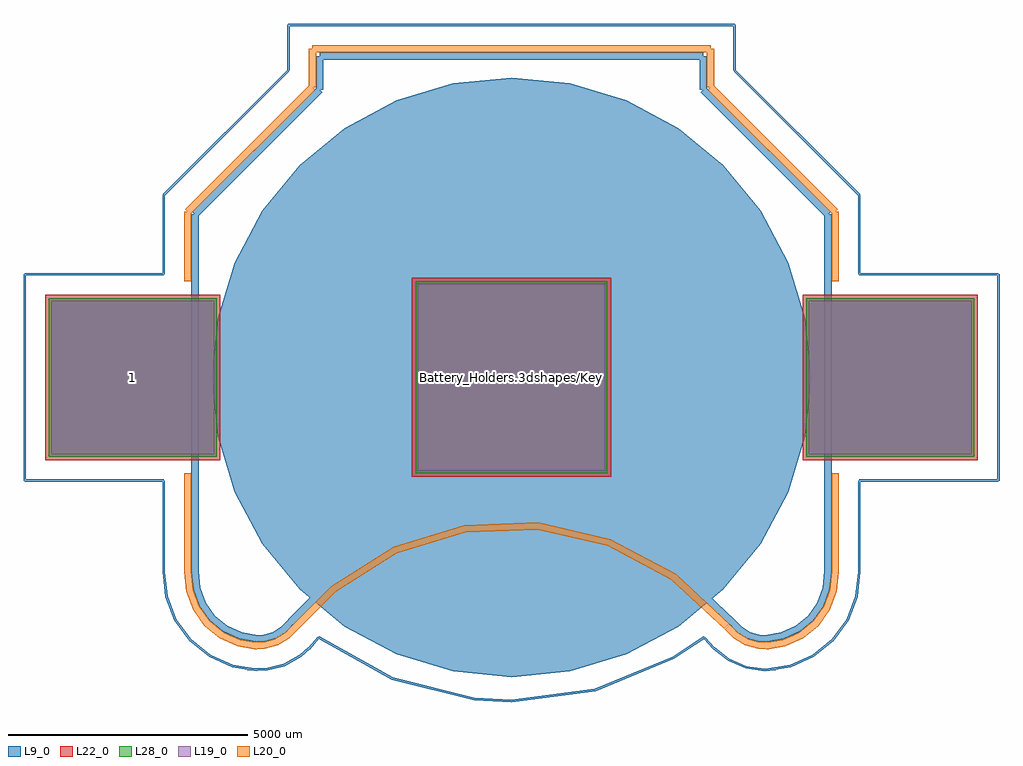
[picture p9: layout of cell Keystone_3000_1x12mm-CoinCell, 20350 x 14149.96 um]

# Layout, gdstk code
import gdstk
lib = gdstk.Library(unit=1e-6, precision=1e-09)
def R(c, l, rs):  # rectangles x0, y0, x1, y1
    for r in rs: c.add(gdstk.rectangle(r[:2], r[2:], *l))
def P(c, l, *ps):  # polygons
    for p in ps: c.add(gdstk.Polygon(p, *l))
L9_0 = (9, 0)
L19_0 = (19, 0)
L20_0 = (20, 0)
L22_0 = (22, 0)
L28_0 = (28, 0)

keystone_3000_1x12mm_coi = lib.new_cell('Keystone_3000_1x12mm-CoinCell')
P(keystone_3000_1x12mm_coi, L9_0, [(6250,0),(6129.908,1219.315),(5774.247,2391.771),(5196.685,3472.314),(4419.417,4419.417),(3472.314,5196.685),(2391.771,5774.247),(1219.315,6129.908),(0,6250),(-1219.315,6129.908),(-2391.771,5774.247),(-3472.314,5196.685),(-4419.417,4419.417),(-5196.685,3472.314),(-5774.247,2391.771),(-6129.908,1219.315),(-6250,0),(-6129.908,-1219.315),(-5774.247,-2391.771),(-5196.685,-3472.314),(-4419.417,-4419.417),(-3472.314,-5196.685),(-2391.771,-5774.247),(-1219.315,-6129.908),(0,-6250),(1219.315,-6129.908),(2391.771,-5774.247),(3472.314,-5196.685),(4419.417,-4419.417),(5196.685,-3472.314),(5774.247,-2391.771),(6129.908,-1219.315)])
R(keystone_3000_1x12mm_coi, L19_0, [(-1950,-1950,1950,1950), (-9600,-1600,-6200,1600), (6200,-1600,9600,1600)])
R(keystone_3000_1x12mm_coi, L22_0, [(-2075,-2075,2075,2075), (-9725,-1725,-6075,1725), (6075,-1725,9725,1725)])
R(keystone_3000_1x12mm_coi, L28_0, [(-2000,-2000,2000,2000), (-9650,-1650,-6150,1650), (6150,-1650,9650,1650)])
keystone_3000_1x12mm_coi.add(gdstk.FlexPath([(-4000,6700),(4000,6700)], 149.998, ends="flush", simple_path=True, layer=9, datatype=0))  # L9_0
keystone_3000_1x12mm_coi.add(gdstk.FlexPath([(-4000,6700),(-4000,6000)], 149.998, ends="flush", simple_path=True, layer=9, datatype=0))  # L9_0
keystone_3000_1x12mm_coi.add(gdstk.FlexPath([(4000,6700),(4000,6000)], 149.998, ends="flush", simple_path=True, layer=9, datatype=0))  # L9_0
keystone_3000_1x12mm_coi.add(gdstk.FlexPath([(-4000,6000),(-6600,3400)], 149.998, ends="flush", simple_path=True, layer=9, datatype=0))  # L9_0
keystone_3000_1x12mm_coi.add(gdstk.FlexPath([(4000,6000),(6600,3400)], 149.998, ends="flush", simple_path=True, layer=9, datatype=0))  # L9_0
keystone_3000_1x12mm_coi.add(gdstk.FlexPath([(-6600,3400),(-6600,-4100)], 149.998, ends="flush", simple_path=True, layer=9, datatype=0))  # L9_0
keystone_3000_1x12mm_coi.add(gdstk.FlexPath([(6600,3400),(6600,-4100)], 149.998, ends="flush", simple_path=True, layer=9, datatype=0))  # L9_0
keystone_3000_1x12mm_coi.add(gdstk.FlexPath([(-6600,-4050.001),(-6566.941,-4401.11),(-6444.134,-4731.7),(-6239.949,-5019.24),(-5968.3,-5244.135),(-5647.701,-5391.059),(-5300,-5450)], 149.998, ends="flush", simple_path=True, layer=9, datatype=0))  # L9_0
keystone_3000_1x12mm_coi.add(gdstk.FlexPath([(10150,-2150),(7250,-2150)], 50, ends="flush", simple_path=True, layer=9, datatype=0))  # L9_0
keystone_3000_1x12mm_coi.add(gdstk.FlexPath([(10150,2150),(10150,-2150)], 50, ends="flush", simple_path=True, layer=9, datatype=0))  # L9_0
keystone_3000_1x12mm_coi.add(gdstk.FlexPath([(7250,2150),(10150,2150)], 50, ends="flush", simple_path=True, layer=9, datatype=0))  # L9_0
keystone_3000_1x12mm_coi.add(gdstk.FlexPath([(-10150,-2150),(-7250,-2150)], 50, ends="flush", simple_path=True, layer=9, datatype=0))  # L9_0
keystone_3000_1x12mm_coi.add(gdstk.FlexPath([(-10150,2150),(-10150,-2150)], 50, ends="flush", simple_path=True, layer=9, datatype=0))  # L9_0
keystone_3000_1x12mm_coi.add(gdstk.FlexPath([(-7250,2150),(-10150,2150)], 50, ends="flush", simple_path=True, layer=9, datatype=0))  # L9_0
keystone_3000_1x12mm_coi.add(gdstk.FlexPath([(6750,3450),(6750,2000)], 149.998, ends="flush", simple_path=True, layer=20, datatype=0))  # L20_0
keystone_3000_1x12mm_coi.add(gdstk.FlexPath([(4150,6050),(6750,3450)], 149.998, ends="flush", simple_path=True, layer=20, datatype=0))  # L20_0
keystone_3000_1x12mm_coi.add(gdstk.FlexPath([(4150,6850),(4150,6050)], 149.998, ends="flush", simple_path=True, layer=20, datatype=0))  # L20_0
keystone_3000_1x12mm_coi.add(gdstk.FlexPath([(-4150,6850),(4150,6850)], 149.998, ends="flush", simple_path=True, layer=20, datatype=0))  # L20_0
keystone_3000_1x12mm_coi.add(gdstk.FlexPath([(-4150,6050),(-4150,6850)], 149.998, ends="flush", simple_path=True, layer=20, datatype=0))  # L20_0
keystone_3000_1x12mm_coi.add(gdstk.FlexPath([(-6750,3450),(-4150,6050)], 149.998, ends="flush", simple_path=True, layer=20, datatype=0))  # L20_0
keystone_3000_1x12mm_coi.add(gdstk.FlexPath([(-6750,2000),(-6750,3450)], 149.998, ends="flush", simple_path=True, layer=20, datatype=0))  # L20_0
keystone_3000_1x12mm_coi.add(gdstk.FlexPath([(-7250,2150),(-7250,3800)], 50, ends="flush", simple_path=True, layer=9, datatype=0))  # L9_0
keystone_3000_1x12mm_coi.add(gdstk.FlexPath([(-7250,3800),(-4650,6400)], 50, ends="flush", simple_path=True, layer=9, datatype=0))  # L9_0
keystone_3000_1x12mm_coi.add(gdstk.FlexPath([(-4650,6400),(-4650,7350)], 50, ends="flush", simple_path=True, layer=9, datatype=0))  # L9_0
keystone_3000_1x12mm_coi.add(gdstk.FlexPath([(-4650,7350),(4650,7350)], 50, ends="flush", simple_path=True, layer=9, datatype=0))  # L9_0
keystone_3000_1x12mm_coi.add(gdstk.FlexPath([(4650,6400),(4650,7350)], 50, ends="flush", simple_path=True, layer=9, datatype=0))  # L9_0
keystone_3000_1x12mm_coi.add(gdstk.FlexPath([(7250,3800),(4650,6400)], 50, ends="flush", simple_path=True, layer=9, datatype=0))  # L9_0
keystone_3000_1x12mm_coi.add(gdstk.FlexPath([(7250,2150),(7250,3800)], 50, ends="flush", simple_path=True, layer=9, datatype=0))  # L9_0
keystone_3000_1x12mm_coi.add(gdstk.FlexPath([(5300,-5450),(5647.702,-5391.059),(5968.301,-5244.134),(6239.949,-5019.239),(6444.134,-4731.699),(6566.941,-4401.109),(6600,-4050.001)], 149.998, ends="flush", simple_path=True, layer=9, datatype=0))  # L9_0
keystone_3000_1x12mm_coi.add(gdstk.FlexPath([(-6750,-2000),(-6750,-4100)], 149.998, ends="flush", simple_path=True, layer=20, datatype=0))  # L20_0
keystone_3000_1x12mm_coi.add(gdstk.FlexPath([(6750,-2000),(6750,-4100)], 149.998, ends="flush", simple_path=True, layer=20, datatype=0))  # L20_0
keystone_3000_1x12mm_coi.add(gdstk.FlexPath([(7250,-2150),(7250,-4100)], 50, ends="flush", simple_path=True, layer=9, datatype=0))  # L9_0
keystone_3000_1x12mm_coi.add(gdstk.FlexPath([(-7250,-2150),(-7250,-4100)], 50, ends="flush", simple_path=True, layer=9, datatype=0))  # L9_0
keystone_3000_1x12mm_coi.add(gdstk.FlexPath([(-6750,-4050.001),(-6711.829,-4439.933),(-6574.038,-4806.7),(-6346.015,-5125.306),(-6043.3,-5374.039),(-5686.524,-5535.948),(-5300,-5600)], 149.998, ends="flush", simple_path=True, layer=20, datatype=0))  # L20_0
keystone_3000_1x12mm_coi.add(gdstk.FlexPath([(5300,-5600),(5686.525,-5535.948),(6043.301,-5374.038),(6346.015,-5125.305),(6574.038,-4806.699),(6711.83,-4439.932),(6750,-4050.001)], 149.998, ends="flush", simple_path=True, layer=20, datatype=0))  # L20_0
keystone_3000_1x12mm_coi.add(gdstk.FlexPath([(-7250,-4050.001),(-7194.792,-4569.343),(-7007.05,-5056.7),(-6699.568,-5478.859),(-6293.3,-5807.051),(-5815.933,-6018.911),(-5300,-6100)], 50, ends="flush", simple_path=True, layer=9, datatype=0))  # L9_0
keystone_3000_1x12mm_coi.add(gdstk.FlexPath([(4607.904,-5109.59),(3469.863,-4046.132),(2095.357,-3313.456),(578.056,-2961.495),(-978.639,-3014.232),(-2468.642,-3468.076),(-3790.411,-4292.095),(-4600,-5100)], 149.998, ends="flush", simple_path=True, layer=9, datatype=0))  # L9_0
keystone_3000_1x12mm_coi.add(gdstk.FlexPath([(-5378.012,-5447.557),(-5155.649,-5441.457),(-4942.442,-5378.012),(-4752.92,-5261.548),(-4600,-5100)], 149.998, ends="flush", simple_path=True, layer=9, datatype=0))  # L9_0
keystone_3000_1x12mm_coi.add(gdstk.FlexPath([(4600,-5100),(4752.921,-5261.548),(4942.443,-5378.012),(5155.65,-5441.457),(5378.012,-5447.557)], 149.998, ends="flush", simple_path=True, layer=9, datatype=0))  # L9_0
keystone_3000_1x12mm_coi.add(gdstk.FlexPath([(4490.661,-5188.671),(3377.083,-4152.863),(2033.362,-3440.564),(551.071,-3100.317),(-968.775,-3155.309),(-2422.6,-3601.792),(-3711.329,-4409.339),(-4500,-5200)], 149.998, ends="flush", simple_path=True, layer=20, datatype=0))  # L20_0
keystone_3000_1x12mm_coi.add(gdstk.FlexPath([(-5414.615,-5584.16),(-5155.649,-5582.878),(-4905.84,-5514.615),(-4682.21,-5384.022),(-4500,-5200)], 149.998, ends="flush", simple_path=True, layer=20, datatype=0))  # L20_0
keystone_3000_1x12mm_coi.add(gdstk.FlexPath([(4500,-5200),(4682.21,-5384.023),(4905.84,-5514.615),(5155.65,-5582.878),(5414.615,-5584.16)], 149.998, ends="flush", simple_path=True, layer=20, datatype=0))  # L20_0
keystone_3000_1x12mm_coi.add(gdstk.FlexPath([(-5513.125,-6082.435),(-5121.84,-6089.671),(-4742.014,-5995.389),(-4399.533,-5806.013),(-4220,-5650)], 50, ends="flush", simple_path=True, layer=9, datatype=0))  # L9_0
keystone_3000_1x12mm_coi.add(gdstk.FlexPath([(4220,-5650),(4528.219,-5891.158),(4888.353,-6044.326),(5275.858,-6099.066),(5513.125,-6082.435)], 50, ends="flush", simple_path=True, layer=9, datatype=0))  # L9_0
keystone_3000_1x12mm_coi.add(gdstk.FlexPath([(5300,-6100),(5815.934,-6018.911),(6293.301,-5807.051),(6699.569,-5478.858),(7007.051,-5056.699),(7194.793,-4569.342),(7250,-4050.001)], 50, ends="flush", simple_path=True, layer=9, datatype=0))  # L9_0
keystone_3000_1x12mm_coi.add(gdstk.FlexPath([(0,-6750),(1747.028,-6519.999),(3374.999,-5845.671),(4024.517,-5419.017)], 50, ends="flush", simple_path=True, layer=9, datatype=0))  # L9_0
keystone_3000_1x12mm_coi.add(gdstk.FlexPath([(-4024.387,-5420.961),(-4220,-5650)], 50, ends="flush", simple_path=True, layer=9, datatype=0))  # L9_0
keystone_3000_1x12mm_coi.add(gdstk.FlexPath([(4220,-5650),(4024.709,-5432.858)], 50, ends="flush", simple_path=True, layer=9, datatype=0))  # L9_0
keystone_3000_1x12mm_coi.add(gdstk.FlexPath([(-4024.517,-5419.017),(-2484.84,-6275.991),(-775.826,-6705.266),(0,-6750)], 50, ends="flush", simple_path=True, layer=9, datatype=0))  # L9_0
keystone_3000_1x12mm_coi.add(gdstk.Label('Battery_Holders.3dshapes/Keystone_3000_1x12mm-CoinCell.wrl', (0,0), layer=12, texttype=0))
keystone_3000_1x12mm_coi.add(gdstk.Label('2', (0,0), layer=28, texttype=0))
keystone_3000_1x12mm_coi.add(gdstk.Label('1', (-7900,0), layer=28, texttype=0))
keystone_3000_1x12mm_coi.add(gdstk.Label('type', (0,-7500), layer=9, texttype=0))
keystone_3000_1x12mm_coi.add(gdstk.Label('devicename', (0,8000), layer=9, texttype=0))

lib.write_gds('Keystone_3000_1x12mm-CoinCell.gds')
